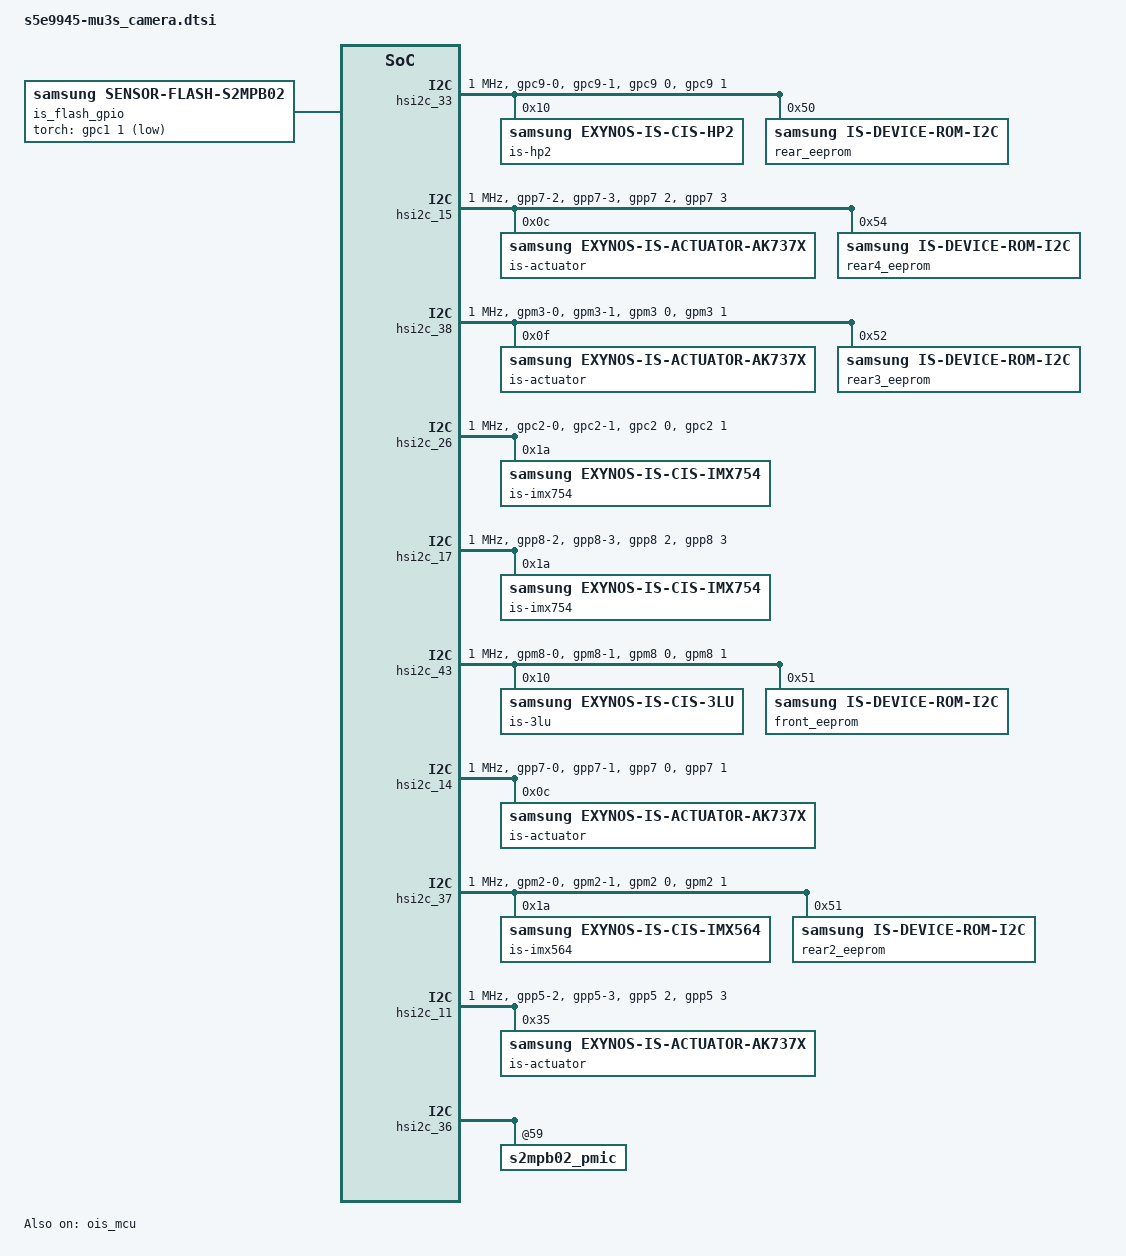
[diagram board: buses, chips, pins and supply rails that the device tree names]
/*
 * Samsung Exynos SoC series Pablo driver
 *
 * Copyright (c) 2022 Samsung Electronics Co., Ltd
 *
 * This program is free software; you can redistribute it and/or modify
 * it under the terms of the GNU General Public License version 2 as
 * published by the Free Software Foundation.
 */

#include <dt-bindings/camera/exynos_is_dt.h>

#include "module_hp2.dtsi"
#include "module_imx754.dtsi"
#include "module_imx754_mirrorflip.dtsi"
#include "module_imx564.dtsi"
#include "module_3lu.dtsi"

/ {
	fragment@camera {
		target-path = "/";
		__overlay__ {
			#address-cells = <2>;
			#size-cells = <1>;
			interrupt-parent = <&gic>;

			is_flash_gpio: is-flash-gpio@0 {
				compatible = "samsung,sensor-flash-s2mpb02";
				sensor-module = <&is_sensor_hp2>, <&is_sensor_imx754>, <&is_sensor_imx754_mirrorflip>;
				id = <0 2 3>;
				status = "okay";

				torch-gpio = <&gpc1 1 0x1>;
			};

			is_laser_af_vl53l8: is-laser-af-vl53l8@0 {
				compatible = "samsung,laser-af-vl53l8";
				id = <0 2 3 4>;
				status = "okay";
			};

			/* OIS_MCU */
			ois_mcu: ois_mcu@1A310000 {
				pinctrl-names = "default";
				pinctrl-0 = <&ois_spi0 &ois_spi1>;
				compatible = "samsung,sensor-ois-mcu";
				reg = <0x0 0x1A310000 0x18000>, /* OIS MCU (SRAM 96KB) */
					<0x0 0x119D0000 0x10000>, /* I2C: USI05_USI */
					<0x0 0x119E0000 0x10000>,	/* SPI: USI06_USI */
					<0x0 0x11830000 0x1000>,	/* PERI setting */
					<0x0 0x1A300000 0x10000>; /* SFR */
				reg-names = "core", "i2c", "spi", "peri", "sfr";
				interrupts = <0 INTREQ__OIS_MCU_CSIS IRQ_TYPE_LEVEL_HIGH>;
				id = <0 2 3>;
				status = "okay";
				mcu_ctrl_actuator = <0 0 1>;
				mcu_skip_video_fastae;
				mcu_off_during_uwonly_mode;
				ois_gyro_direction = <0x00 0x01 0x31 0x00 0x01 0x00 0x00>;

				power-domains = <&pd_csis>;
				clocks = <&clock GATE_OIS_MCU_TOP_QCH>, <&clock DOUT_DIV_CLK_PERIC2_USI06>;
				clock-names = "user_mux", "ipclk_spi";
			};

			/* REAR CAMERA */
			is_sensor0: is_sensor0@1A030000 {
				reg = <0x0 0x1A040000 0x1000>, /* MIPI-CSI1 */
					<0x0 0x1A0F0000 0x10000>, /* PHY: M0S4S4S4S4S4S2 */
					<0x0 0x1A19022C 0x10>, /* CSIS_FRO */
					<0x0 0x1A190254 0x10>; /* CSIS 7x5 OTF_OUT MUX */
				scenario = <SENSOR_SCENARIO_NORMAL>;    /* Normal, Vision, OIS etc */

				id = <0>;
				csi_ch = <1>;
				status = "okay";
				use_cphy = <1>;

				interrupts = <0 INTREQ__CSIS1 IRQ_TYPE_LEVEL_HIGH>; /* MIPI-CSI1 */
				phys = <&mipi_phy_csis1_m0s4s4s4s4s4s4_s22 0>;
				phy_setfile = <&cphy_setfile>;
			};

			/* FRONT CAMERA */
			is_sensor1: is_sensor1@1A040000 {
				reg = <0x0 0x1A030000 0x1000>, /* MIPI-CSI0 */
					<0x0 0x1A0F0000 0x10000>, /* PHY: M0S4S4S4S4S4S2 */
					<0x0 0x1A19022C 0x10>, /* CSIS_FRO */
					<0x0 0x1A190254 0x10>; /* CSIS 7x5 OTF_OUT MUX */
				scenario = <SENSOR_SCENARIO_NORMAL>;    /* Normal, Vision, OIS etc */
				id = <1>;
				csi_ch = <0>;
				status = "okay";
				use_cphy = <1>;
				scramble = <1>; /* need to sync with sensor setting */

				interrupts = <0 INTREQ__CSIS0 IRQ_TYPE_LEVEL_HIGH>; /* MIPI-CSI0 */
				phys = <&mipi_phy_csis0_m0s4s4s4s4s4s4_s22 0>;
				phy_setfile = <&cphy_setfile>;
			};

			/* Tele x3 CAMERA */
			is_sensor2: is_sensor2@1A050000 {
				reg = <0x0 0x1A050000 0x1000>, /* MIPI-CSI2 */
					<0x0 0x1A0F0000 0x10000>, /* PHY: M0S4S4S4S4S4S2 */
					<0x0 0x1A19022C 0x10>, /* CSIS_FRO */
					<0x0 0x1A190254 0x10>; /* CSIS 7x5 OTF_OUT MUX */
				scenario = <SENSOR_SCENARIO_NORMAL>;    /* Normal, Vision, OIS etc */
				id = <2>;
				csi_ch = <2>;
				status = "okay";
				use_cphy = <1>;

				interrupts = <0 INTREQ__CSIS2 IRQ_TYPE_LEVEL_HIGH>; /* MIPI-CSI2 */
				phys = <&mipi_phy_csis2_m0s4s4s4s4s4s4_s22 0>;
				phy_setfile = <&cphy_setfile>;
			};

			/* Tele x10 CAMERA */
			is_sensor3: is_sensor3@1A060000 {
				reg = <0x0 0x1A070000 0x1000>, /* MIPI-CSI4 */
					<0x0 0x1A0F0000 0x10000>, /* PHY: M0S4S4S4S4S4S2 */
					<0x0 0x1A19022C 0x10>, /* CSIS_FRO */
					<0x0 0x1A190254 0x10>; /* CSIS 7x5 OTF_OUT MUX */
				scenario = <SENSOR_SCENARIO_NORMAL>;    /* Normal, Vision, OIS etc */
				id = <3>;
				csi_ch = <4>;
				status = "okay";
				use_cphy = <1>;

				interrupts = <0 INTREQ__CSIS4 IRQ_TYPE_LEVEL_HIGH>; /* MIPI-CSI4 */
				phys = <&mipi_phy_csis4_m0s4s4s4s4s4s4_s22 0>;
				phy_setfile = <&cphy_setfile>;
			};

			/* ULTRA WIDE CAMERA */
			is_sensor4: is_sensor4@1A070000 {
				reg = <0x0 0x1A060000 0x1000>, /* MIPI-CSI3 */
					<0x0 0x1A0F0000 0x10000>, /* PHY: M0S4S4S4S4S4S2 */
					<0x0 0x1A19022C 0x10>, /* CSIS_FRO */
					<0x0 0x1A190254 0x10>; /* CSIS 7x5 OTF_OUT MUX */
				scenario = <SENSOR_SCENARIO_NORMAL>;    /* Normal, Vision, OIS etc */
				id = <4>;
				csi_ch = <3>;
				status = "okay";
				use_cphy = <1>;

				interrupts = <0 INTREQ__CSIS3 IRQ_TYPE_LEVEL_HIGH>; /* MIPI-CSI3 */
				phys = <&mipi_phy_csis3_m0s4s4s4s4s4s4_s22 0>;
				phy_setfile = <&cphy_setfile>;
			};

			is_sensor5: is_sensor5@1A080000 {
				scenario = <SENSOR_SCENARIO_NORMAL>;    /* Normal, Vision, OIS etc */
				id = <1>;
				csi_ch = <1>;
				status = "disabled";
			};

			is_sensor_3lu: is_sensor_3lu@10 {
				power_seq {
					scenario_normal_on {
						7 { pname; pin; share; };
						10 { pname = "VDD_CAMIO_1P8"; pin = <PIN_REGULATOR 1 1>; share = <SRT_ACQUIRE SHARED_PIN0 1>; };
						40 { pname = "VDD_VTCAM_AF_2P8"; pin = <PIN_OUTPUT 1 0>; gpio = <&gpb1 0 0x1>; actuator_i2c_delay = <10000>; };
					};

					scenario_normal_off {
						70 { pname = "VDD_VTCAM_AF_2P8"; pin = <PIN_OUTPUT 0 0>; gpio = <&gpb1 0 0x1>; };
						100 { pname = "VDD_CAMIO_1P8"; pin = <PIN_REGULATOR 0 0>; share = <SRT_RELEASE SHARED_PIN0 0>; };
						120 { pname; pin; share; };
					};

					scenario_vision_on {
						7 { pname; pin; share; };
						10 { pname = "VDD_CAMIO_1P8"; pin = <PIN_REGULATOR 1 1>; share = <SRT_ACQUIRE SHARED_PIN0 1>; };
						40 { pname = "VDD_VTCAM_AF_2P8"; pin = <PIN_OUTPUT 1 0>; gpio = <&gpb1 0 0x1>; actuator_i2c_delay = <10000>; };
					};

					scenario_vision_off {
						70 { pname = "VDD_VTCAM_AF_2P8"; pin = <PIN_OUTPUT 0 0>; gpio = <&gpb1 0 0x1>; };
						100 { pname = "VDD_CAMIO_1P8"; pin = <PIN_REGULATOR 0 0>; share = <SRT_RELEASE SHARED_PIN0 0>; };
						120 { pname; pin; share; };
					};

					scenario_read_rom_on {
						10 { pname = "VDD_CAMIO_1P8"; pin = <PIN_REGULATOR 1 5000>; share = <SRT_ACQUIRE SHARED_PIN0 1>; };
					};

					scenario_read_rom_off {
						20 { pname = "VDD_CAMIO_1P8"; pin = <PIN_REGULATOR 0 0>; share = <SRT_RELEASE SHARED_PIN0 0>; };
					};
				};
			};
		}; /* end of __overlay__ */
	}; /* end of fragment */
}; /* end of root */

/***** reference symbol node *****/
&pinctrl_1 {
	/* ULTRA WIDE */
	hsi2c37_bus_in: hsi2c37-bus-in {
		samsung,pins = "gpm2-0", "gpm2-1";
		samsung,pin-function = <0>;
		samsung,pin-pud = <0>;
		samsung,pin-drv = <0>;
	};

	/* Tele 3x AF */
	hsi2c38_bus_in: hsi2c38-bus-in {
		samsung,pins = "gpm3-0", "gpm3-1";
		samsung,pin-function = <0>;
		samsung,pin-pud = <0>;
		samsung,pin-drv = <0>;
	};

	/* FRONT */
	hsi2c43_bus_in: hsi2c43-bus-in {
		samsung,pins = "gpm8-0", "gpm8-1";
		samsung,pin-function = <0>;
		samsung,pin-pud = <0>;
		samsung,pin-drv = <0>;
	};
};

&pinctrl_6 {
	/* REAR TELE 3x */
	hsi2c26_bus_in: hsi2c26-bus-in {
		samsung,pins = "gpc2-0", "gpc2-1";
		samsung,pin-function = <0>;
		samsung,pin-pud = <0>;
		samsung,pin-drv = <0>;
	};

	/* FRONT AF */
	hsi2c14_bus_in: hsi2c14-bus-in {
		samsung,pins = "gpp7-0", "gpp7-1";
		samsung,pin-function = <0>;
		samsung,pin-pud = <0>;
		samsung,pin-drv = <0>;
	};

	/* REAR WIDE AF */
	hsi2c15_bus_in: hsi2c15-bus-in {
		samsung,pins = "gpp7-2", "gpp7-3";
		samsung,pin-function = <0>;
		samsung,pin-pud = <0>;
		samsung,pin-drv = <0>;
	};

	/* Tele 10x */
	hsi2c17_bus_in: hsi2c16-bus-in {
		samsung,pins = "gpp8-2", "gpp8-3";
		samsung,pin-function = <0>;
		samsung,pin-pud = <0>;
		samsung,pin-drv = <0>;
	};
};

&pinctrl_7 {
	/* REAR WIDE */
	hsi2c33_bus_in: hsi2c33-bus-in {
		samsung,pins = "gpc9-0", "gpc9-1";
		samsung,pin-function = <0>;
		samsung,pin-pud = <0>;
		samsung,pin-drv = <0>;
	};

	/* UW AF EEPROM */
	hsi2c11_bus_in: hsi2c11-bus-in {
		samsung,pins = "gpp5-2", "gpp5-3";
		samsung,pin-function = <0>;
		samsung,pin-pud = <0>;
		samsung,pin-drv = <0>;
	};

	/* ois spi 0*/
	ois_spi0: ois-spi0 {
		samsung,pins = "gpp6-0", "gpp6-1";
		samsung,pin-function = <0>;
		samsung,pin-pud = <1>;
	};

	/* ois spi 1*/
	ois_spi1: ois-spi1 {
		samsung,pins = "gpp6-2", "gpp6-3";
		samsung,pin-function = <0>;
		samsung,pin-pud = <0>;
		samsung,pin-con-pdn = <2>;
		samsung,pin-pud-pdn = <0>;
	};
};

&hsi2c_33 {
	#address-cells = <1>;
	#size-cells = <0>;
	gpios = <&gpc9 0 0 &gpc9 1 0>;
	status = "okay";
	clock-frequency = <1000000>;
	samsung,reset-before-trans;
	samsung,fast-plus-mode;

	pinctrl-names = "default","on_i2c","off_i2c";
	pinctrl-0 = <&hsi2c33_bus_in>;
	pinctrl-1 = <&hsi2c33_bus>;
	pinctrl-2 = <&hsi2c33_bus_in>;

	is-hp2@10 {
		compatible = "samsung,exynos-is-cis-hp2";
		sensor-module = <&is_sensor_hp2>;
		reg = <0x10>; /* 1 bit right shift */
		id = <0>; /* matching is_sensor id */
		setfile = "setA";
		rev_reg = <0x0002 2 0xB100>;
		vendor_use_adaptive_mipi;
	};

	rear_eeprom@50 {
		compatible = "samsung,is-device-rom-i2c";
		reg = <0x50>;

		rom_id = <0>; /* ROM_ID_REAR */
		rom_type = <2>; /* ROM_TYPE_EEPROM */
		rom_power_position = <0>;
		rom_size = <0x8000>;
		cal_map_es_version = <31>;
		camera_module_es_version = "A";
		ignore_cal_crc_error;

		/* Diamond_project_DM3_Rear_Cal_Map_V031_20220713_for_all */
		/* 0 header */
		header_crc_check_list = <0x0000 0x01FB 0x01FC>;
		/* 0 LSI Wide LSC data */
		/* 1 Wide camera */
		/* 2 ATC data */
		/* 3 Tele camera */
		/* 4 Sensor */
		crc_check_list = <
			0x0200 0x15FB 0x15FC
			0x1D00 0x2D2B 0x2D2C
			0x2D30 0x3D5B 0x3D5C
			0x3D60 0x3D8B 0x3D8C
			0x3D90 0x3DCB 0x3DCC
			0x3DD0 0x3E3B 0x3E3C
			0x3E40 0x3E9B 0x3E9C
			0x3EA0 0x3ECB 0x3ECC
			0x1D00 0x3EDF 0x3EFC
			0x3F00 0x3FFB 0x3FFC
			0x4000 0x5C1F 0x5C20
			0x5C24 0x658D 0x658E
			0x6592 0x69B7 0x69B8
			0x69BC 0x7349 0x734A
			0x734E 0x7AA5 0x7AA6
			0x4000 0x7ADF 0x7AFC
			0x7B00 0x7C4B 0x7C4C
		>;

		/* Master */
		rom_header_version_start_addr = <0x50>;
		rom_header_cal_data_start_addr = <0x200>;
		rom_header_cal_map_ver_start_addr = <0x70>;
		rom_header_isp_setfile_ver_start_addr = <0x74>;
		rom_header_project_name_start_addr = <0x7E>;
		rom_header_module_id_addr = <0xAE>; /* 0xA8 + reserved bytes */
		rom_header_sensor_id_addr = <0xB8>;
		rom_header_mtf_data_addr = <0xE0>;
		rom_paf_cal_start_addr = <0x1D00>;
		rom_awb_master_addr = <0x3D90>;
		rom_awb_module_addr = <0x3DB4>;
		/* Near Far Mid1 ... Mid7 */
		rom_af_cal_addr = <0x3D70 0x3D64 0x3D68 0x3D6C>;

		/* index, start, end, endian[little:0x00, big:0x01, check:0x02, continue:0x03]  */
		rom_xtc_cal_data_addr_list = <
			0x00 0x4000 0x56B7 0x02 /* HEXA_HQ */
			0x01 0x6592 0x6709 0x02 /* IMBACC */
			0x02 0x734E 0x764F 0x02 /* OFFSETS_GAIN for Hexa */
			0x03 0x7650 0x770F 0x03 /* OFFSETS_GAIN for Tetra */
			0x04 0x7710 0x774F 0x03 /* OFFSETS_GAIN for IMB */
			0x05 0x69BC 0x708B 0x02 /* SPECIAL */
			0x06 0x5C24 0x60DB 0x02 /* TETRA_HQ */
		>;

 		/* sensor ois - xgg ygg xcoef ycoef xsupper ysupper calmark */
		/* sensor2 ois - xgg ygg xcoef ycoef xsupper ysupper calmark */
		/* TO DO */
		rom_ois_list = <0x2E20 0x2E24 0x2E2C 0x2E2E 0x2E48 0x2E4A 0x2E40
			0x3630 0x3634 0x363C 0x363E 0x3658 0x365A 0x3650>;
	};
};

&hsi2c_15 {
	#address-cells = <1>;
	#size-cells = <0>;
	gpios = <&gpp7 2 0 &gpp7 3 0>;
	status = "okay";
	clock-frequency = <1000000>;
	samsung,reset-before-trans;
	samsung,fast-plus-mode;

	pinctrl-names = "default","on_i2c","off_i2c";
	pinctrl-0 = <&hsi2c15_bus_in>;
	pinctrl-1 = <&hsi2c15_bus>;
	pinctrl-2 = <&hsi2c15_bus_in>;

	is-actuator@0C { /* wide AF */
		compatible = "samsung,exynos-is-actuator-ak737x";
		sensor-module = <&is_sensor_hp2>;
		reg = <0x0C>;
		id = <0>; /* matching is_sensor id */
		/* AK7314 : addr 0xF3, data 0x19 */
		vendor_product_id = <0xF3 0x13 0xF3 0x19>;
		vendor_first_pos = <2000>;  /* 12bits */
		vendor_first_delay = <2000>;
		vendor_soft_landing_seqid = <3>;
		vendor_soft_landing_list = <640 30 64 30>; /* 1st_pos delay 2nd_pos delay */
		vendor_use_sleep_mode;
		vendor_use_standby_mode; /* AK7314 with vendor_use_sleep_mode */
		/* delay settings for AK7314 */
		vendor_sleep_to_standby_delay = <2200>;
		vendor_active_to_standby_delay = <300>;
	};

	rear4_eeprom@54 { /* tele x10 */
		compatible = "samsung,is-device-rom-i2c";
		reg = <0x54>;

		rom_id = <6>; /* ROM_ID_REAR4 */
		rom_type = <2>; /* ROM_TYPE_EEPROM */
		rom_power_position = <6>;
		rom_size = <0x4000>;
		cal_map_es_version = <23>;
		camera_module_es_version = "A";

		/* Rainbow_project_B0_Rear_Cal_Map_V023_20210520_for_all */
		/* 0 header */
		header_crc_check_list = <0x0000 0x01FB 0x01FC>;
		/* 0 LSI Wide LSC data */
		/* 1 Tele camera */
		/* 2 ATC data */
		crc_check_list = <
			0x0200 0x15FB 0x15FC
			0x1D00 0x2D2B 0x2D2C
			0x2D30 0x2D5B 0x2D5C
			0x2D60 0x2D9B 0x2D9C
			0x2DA0 0x2E0B 0x2E0C
			0x2E10 0x361B 0x361C
			0x3620 0x367B 0x367C
			0x1D00 0x36DF 0x36FC
			0x3700 0x37FB 0x37FC
		>;

		/* Master */
		rom_header_version_start_addr = <0x40>;
		rom_header_cal_data_start_addr = <0x200>;
		rom_header_cal_map_ver_start_addr = <0x70>;
		rom_header_isp_setfile_ver_start_addr = <0x74>;
		rom_header_project_name_start_addr = <0x7E>;
		rom_header_module_id_addr = <0xAE>; /* 0xA8 + reserved bytes */
		rom_header_sensor_id_addr = <0xC8>;
		rom_header_mtf_data_addr = <0x182>;
		rom_awb_master_addr = <0x2D60>;
		rom_awb_module_addr = <0x2D84>;
		/* Near Far Mid1 ... Mid7 */
		rom_af_cal_addr = <0x2D40 0x2D34 0x2D38 0x2D3C>;

		rom_dualcal_slave0_start_addr = <0x2E10>;
		rom_dualcal_slave0_size = <0x080C>; /* 2060 */
		/* x y z sx sy */
		/* range max_err avg_err dll_version prj_name */
		rom_dualcal_slave0_tilt_list = <0x2EC8 0x2ECC 0x2ED0 0x2EEC 0x2EF0
			0x30E2 0x30E6 0x30EA 0x3104 0x30EF>;

		/* sensor ois - xgg ygg xcoef ycoef xsupper ysupper calmark */
		/* sensor2 ois - xgg ygg xcoef ycoef xsupper ysupper calmark */
		/* TO DO */
		rom_ois_list = <0x2E20 0x2E24 0x2E2C 0x2E2E 0x2E48 0x2E4A 0x2E40
			0x3630 0x3634 0x363C 0x363E 0x3658 0x365A 0x3650>;
	};
};

&hsi2c_38 {
	#address-cells = <1>;
	#size-cells = <0>;
	gpios = <&gpm3 0 0 &gpm3 1 0>;
	status = "okay";
	clock-frequency = <1000000>;
	samsung,reset-before-trans;
	samsung,fast-plus-mode;

	pinctrl-names = "default","on_i2c","off_i2c";
	pinctrl-0 = <&hsi2c38_bus_in>;
	pinctrl-1 = <&hsi2c38_bus>;
	pinctrl-2 = <&hsi2c38_bus_in>;

	is-actuator@0F { /* tele 3x AF */
		compatible = "samsung,exynos-is-actuator-ak737x";
		sensor-module = <&is_sensor_imx754>;
		reg = <0x0F>;
		id = <2>; /* matching is_sensor id */
		/* DW9825A */
		vendor_product_id = <0xF3 0x0E 0xF3 0x00 0xF3 0x19 0xF3 0x13>;
		vendor_first_pos = <960>;  /* 12bits */
		vendor_first_delay = <2000>;
		vendor_use_sleep_mode;
		vendor_use_standby_mode; /* with vendor_use_sleep_mode */
		/* delay settings for DW9825A */
		vendor_sleep_to_standby_delay = <3000>;
		vendor_active_to_standby_delay = <300>;
	};

	rear3_eeprom@52 { /* tele x3 */
		compatible = "samsung,is-device-rom-i2c";
		reg = <0x52>;

		rom_id = <4>; /* ROM_ID_REAR3 */
		rom_type = <2>; /* ROM_TYPE_EEPROM */
		rom_power_position = <2>;
		rom_size = <0x4000>;
		cal_map_es_version = <23>;
		camera_module_es_version = "A";

		/* Rainbow_project_R0G0_Rear_Cal_Map_V023_20210520_for_all */
		/* 0 header */
		header_crc_check_list = <0x0000 0x01FB 0x01FC>;
		/* 0 LSI Wide LSC data */
		/* 1 Tele camera */
		/* 2 ATC data */
		crc_check_list = <
			0x0200 0x15FB 0x15FC
			0x1D00 0x2D2B 0x2D2C
			0x2D30 0x2D5B 0x2D5C
			0x2D60 0x2D9B 0x2D9C
			0x2DA0 0x2E0B 0x2E0C
			0x2E10 0x361B 0x361C
			0x3620 0x367B 0x367C
			0x1D00 0x36DF 0x36FC
			0x3700 0x37FB 0x37FC
		>;

		/* Master */
		rom_header_version_start_addr = <0x40>;
		rom_header_cal_data_start_addr = <0x200>;
		rom_header_cal_map_ver_start_addr = <0x70>;
		rom_header_isp_setfile_ver_start_addr = <0x74>;
		rom_header_project_name_start_addr = <0x7E>;
		rom_header_module_id_addr = <0xAE>; /* 0xA8 + reserved bytes */
		rom_header_sensor_id_addr = <0xC8>;
		rom_header_mtf_data_addr = <0x182>;
		rom_awb_master_addr = <0x2D60>;
		rom_awb_module_addr = <0x2D84>;
		/* Near Far Mid1 ... Mid7 */
		rom_af_cal_addr = <0x2D40 0x2D34 0x2D38 0x2D3C>;

		/* Dual cal slave 0 - Tele */
		rom_dualcal_slave0_start_addr = <0x2E10>;
		rom_dualcal_slave0_size = <0x080C>; /* 2060 */
		/* x y z sx sy */
		/* range max_err avg_err dll_version prj_name */
		rom_dualcal_slave1_tilt_list = <0x2EC8 0x2ECC 0x2ED0 0x2EEC 0x2EF0
			0x30E2 0x30E6 0x30EA 0x3104 0x30EF>;

		/* sensor ois - xgg ygg xcoef ycoef xsupper ysupper calmark */
		/* sensor2 ois - xgg ygg xcoef ycoef xsupper ysupper calmark */
		/* TO DO */
		rom_ois_list = <0x2E20 0x2E24 0x2E2C 0x2E2E 0x2E48 0x2E4A 0x2E40
			0x3630 0x3634 0x363C 0x363E 0x3658 0x365A 0x3650>;
	};
};

&hsi2c_26 {
	#address-cells = <1>;
	#size-cells = <0>;
	gpios = <&gpc2 0 0 &gpc2 1 0>;
	status = "okay";
	clock-frequency = <1000000>;
	samsung,reset-before-trans;
	samsung,fast-plus-mode;

	pinctrl-names = "default","on_i2c","off_i2c";
	pinctrl-0 = <&hsi2c26_bus_in>;
	pinctrl-1 = <&hsi2c26_bus>;
	pinctrl-2 = <&hsi2c26_bus_in>;

	is-imx754@1A { /* tele x3 */
		compatible = "samsung,exynos-is-cis-imx754";
		sensor-module = <&is_sensor_imx754>;
		reg = <0x1A>; /* 1 bit right shift */
		id = <2>; /* matching is_sensor id */
		setfile = "setA";
		rev_reg = <0x0018 1 0x30>;
		vendor_use_adaptive_mipi;
	};
};

&hsi2c_17 {
	#address-cells = <1>;
	#size-cells = <0>;
	gpios = <&gpp8 2 0 &gpp8 3 0>;
	status = "okay";
	clock-frequency = <1000000>;
	samsung,reset-before-trans;
	samsung,fast-plus-mode;

	pinctrl-names = "default","on_i2c","off_i2c";
	pinctrl-0 = <&hsi2c17_bus_in>;
	pinctrl-1 = <&hsi2c17_bus>;
	pinctrl-2 = <&hsi2c17_bus_in>;

	is-imx754@1A { /* tele x10 */
		compatible = "samsung,exynos-is-cis-imx754";
		sensor-module = <&is_sensor_imx754_mirrorflip>;
		reg = <0x1A>; /* 1 bit right shift */
		id = <3>; /* matching is_sensor id */
		setfile = "setB";
		rev_reg = <0x0018 1 0x30>;
		multicam_slave = <1>;
		vendor_use_adaptive_mipi;
	};
};

&hsi2c_43 {
	#address-cells = <1>;
	#size-cells = <0>;
	gpios = <&gpm8 0 0 &gpm8 1 0>;
	status = "okay";
	clock-frequency = <1000000>;
	samsung,reset-before-trans;
	samsung,fast-plus-mode;

	pinctrl-names = "default","on_i2c","off_i2c";
	pinctrl-0 = <&hsi2c43_bus_in>;
	pinctrl-1 = <&hsi2c43_bus>;
	pinctrl-2 = <&hsi2c43_bus_in>;

	is-3lu@10 {
		compatible = "samsung,exynos-is-cis-3lu";
		sensor-module = <&is_sensor_3lu>;
		reg = <0x10>; /* 1 bit right shift */
		id = <1>; /* matching is_sensor id */
		setfile = "default";
		rev_reg = <0x0002 2 0xA101>;
		vendor_use_adaptive_mipi;
	};

	front_eeprom@51 {
		compatible = "samsung,is-device-rom-i2c";
		reg = <0x51>;

		rom_id = <1>; /* ROM_ID_FRONT */
		rom_type = <2>; /* ROM_TYPE_EEPROM */
		rom_power_position = <1>;
		rom_size = <0x4000>;
		cal_map_es_version = <31>;
		camera_module_es_version = "A";

		/* Muse_project_Muse123_Front_Cal_Map_V031_20230510_for_all */
		/* 0 header */
		header_crc_check_list = <0x0000 0x015F 0x01FC>;
		/* 0 master */
		crc_check_list = <
			0x0200 0x15FB 0x15FC
			0x2300 0x32FF 0x3300
			0x330C 0x3337 0x3338
			0x333C 0x3367 0x3368
			0x2300 0x33DF 0x33FC
			0x3400 0x354B 0x354C
		>;
		/* Master */
		rom_header_version_start_addr = <0x30>;
		rom_header_cal_data_start_addr = <0x200>;
		rom_header_cal_map_ver_start_addr = <0x50>;
		/* rom_header_isp_setfile_ver_start_addr = <>; */
		rom_header_project_name_start_addr = <0x5C>;
		rom_header_module_id_addr = <0xAE>; /* 0xA8 + reserved bytes */
		rom_header_sensor_id_addr = <0x70>;
		rom_header_mtf_data_addr = <0xE0>;
		rom_paf_cal_start_addr = <0x2300>;
		rom_awb_master_addr = <0x333C>;
		rom_awb_module_addr = <0x3348>;
		/* Near Far Mid1 ... Mid7 */
		rom_af_cal_addr = <0x331C 0x3310>;
	};
};

&hsi2c_14 {
	#address-cells = <1>;
	#size-cells = <0>;
	gpios = <&gpp7 0 0 &gpp7 1 0>;
	status = "okay";
	clock-frequency = <1000000>;
	samsung,reset-before-trans;
	samsung,fast-plus-mode;

	pinctrl-names = "default","on_i2c","off_i2c";
	pinctrl-0 = <&hsi2c14_bus_in>;
	pinctrl-1 = <&hsi2c14_bus>;
	pinctrl-2 = <&hsi2c14_bus_in>;

	is-actuator@0C { /* front AF */
		compatible = "samsung,exynos-is-actuator-ak737x";
		sensor-module = <&is_sensor_3lu>;
		reg = <0x0C>;
		id = <1>; /* matching is_sensor id */
		/* DW9825A */
		vendor_product_id = <0xF3 0x0E>;
		vendor_first_pos = <960>;  /* 12bits */
		vendor_first_delay = <2000>;
		vendor_use_sleep_mode;
		vendor_use_standby_mode; /* with vendor_use_sleep_mode */
		/* delay settings for DW9825A */
		vendor_sleep_to_standby_delay = <3000>;
		vendor_active_to_standby_delay = <300>;
	};
};

&hsi2c_37 {
	#address-cells = <1>;
	#size-cells = <0>;
	gpios = <&gpm2 0 0 &gpm2 1 0>;
	status = "okay";
	clock-frequency = <1000000>;
	samsung,reset-before-trans;
	samsung,fast-plus-mode;

	pinctrl-names = "default","on_i2c","off_i2c";
	pinctrl-0 = <&hsi2c37_bus_in>;
	pinctrl-1 = <&hsi2c37_bus>;
	pinctrl-2 = <&hsi2c37_bus_in>;

	is-imx564@1A { /* ultrawide */
		compatible = "samsung,exynos-is-cis-imx564";
		sensor-module = <&is_sensor_imx564>;
		reg = <0x1A>; /* 1 bit right shift */
		id = <4>; /* matching is_sensor id */
		setfile = "setA";
		status = "okay";
		rev_reg = <0x36F2 2 0x564C>;
		vendor_use_adaptive_mipi;
	};

	rear2_eeprom@51 { /* Ultra wide eeprom */
		compatible = "samsung,is-device-rom-i2c";
		reg = <0x51>;

		rom_id = <2>; /* ROM_ID_REAR2 */
		rom_type = <2>; /* ROM_TYPE_EEPROM */
		rom_power_position = <4>;
		rom_size = <0x4000>;
		cal_map_es_version = <23>;
		camera_module_es_version = "A";

		/* Rainbow_project_R0G0_Rear_Cal_Map_V023_20210520_for_all */
		/* 0 header */
		header_crc_check_list = <0x0000 0x00FB 0x00FC>;
		/* 0 master LSC */
		/* 1 master all */
		crc_check_list = <
			0x0100 0x14FB 0x14FC
			0x2C60 0x2C9B 0x2C9C
			0x2CA0 0x2D0B 0x2D0C
			0x1C00 0x2DDF 0x2DFC
		>;
		/* Master */
		rom_header_version_start_addr = <0x40>;
		rom_header_cal_data_start_addr = <0x100>;
		rom_header_cal_map_ver_start_addr = <0x50>;
		rom_header_isp_setfile_ver_start_addr = <0x54>;
		rom_header_project_name_start_addr = <0x5E>;
		rom_header_module_id_addr = <0xAE>; /* 0xA8 + reserved bytes */
		rom_header_sensor_id_addr = <0xB8>;
		rom_header_mtf_data_addr = <0x66>;
		rom_awb_master_addr = <0x2C60>;
		rom_awb_module_addr = <0x2C84>;
	};
};

&hsi2c_11 {
	#address-cells = <1>;
	#size-cells = <0>;
	gpios = <&gpp5 2 0 &gpp5 3 0>;
	status = "okay";
	clock-frequency = <1000000>;
	samsung,reset-before-trans;
	samsung,fast-plus-mode;

	pinctrl-names = "default","on_i2c","off_i2c";
	pinctrl-0 = <&hsi2c11_bus_in>;
	pinctrl-1 = <&hsi2c11_bus>;
	pinctrl-2 = <&hsi2c11_bus_in>;

	is-actuator@35 { /* uwide AF */
		compatible = "samsung,exynos-is-actuator-ak737x";
		reg = <0x35>;
		sensor-module = <&is_sensor_imx564>;
		id = <4>; /* matching is_sensor id */
		/* DW9825A */
		vendor_product_id = <0xF3 0x0E>;
		vendor_first_pos = <960>;  /* 12bits */
		vendor_first_delay = <2000>;
		vendor_use_sleep_mode;
		vendor_use_standby_mode; /* with vendor_use_sleep_mode */
		/* delay settings for DW9825A */
		vendor_sleep_to_standby_delay = <3000>;
		vendor_active_to_standby_delay = <300>;
	};
};

&hsi2c_36 {
	s2mpb02_pmic@59 {
		torch {
			torch1-gpio = <&gpc1 1 0x1>;

			status = "okay";

			leds1 {
				ledname = "leds-sec1";
				id = <0>;
				brightness = <0xE>; /* adaptive Nx100+50 : 1450mA */
				timeout = <0x7>; /* (N+1)x62.5 : 500ms */
				torch_table_enable = <0>;
			};

			leds2 {
				ledname = "torch-sec1";
				id = <1>;
				brightness = <0xE>; /* Nx20 = 280mA */
				timeout = <0xF>;
				torch_table_enable = <1>;
				torch_table = <3 5 5 6 6 8 8 8 10 10>;
				/* 60mA 100mA 120mA 160mA 200mA */
			};
		};
	};
};

&exynos_is {
	phy_ldos = "AVDD_CSI_0P85", "AVDD_CSI_1P2";

	vendor {
		use_module_check;
		check_sensor_vendor;
		ois_sensor_index = <0>;
		aperture_sensor_index = <0>;
		mcu_sensor_index = <0>;

		is_vendor_sensor_count = <5>;
		max_supported_camera = <7>;
		supported_cameraId = <56 58 52 54 1 21 23>;
		/*
		* Wide(0)
		* Front(1)
		* U Wide(2)
		* Front 80(3) - not available for factory
		* Rear ToF(4) - not available for factory
		* Front Secure(5) - not available for factory
		* Dual Zoom(20)
		* Dual Portrait Tele(21) - Main Tele/Sub Wide
		* Dual Portrait Wide(23) - Main Wide/Sub U Wide
		* Tele 2x2(50)
		* Tele 17.9(52)
		* Front_3(53)
		* Tele_2(54)
		* Front_4(55)
		* Rear_Wide(56)
		* Rear_UW(58)
		* REAR ToF(80)
		*/

		/* sysfs camera id */
		max_camera_num = <9>;
		sensor_name { /* position = "name" */
			0 = "S5KHP2";
			1 = "S5K3LU";
			2 = "IMX754";
			4 = "IMX564";
			6 = "IMX754";
		};

		sensor_id { /* position = <sensor_id> */
			0 = <74>;	/* S5KHP2 */
			1 = <75>;	/* S5K3LU */
			2 = <127>;	/* IMX754 */
			4 = <129>;	/* IMX564 */
			6 = <127>;	/* IMX754 */
		};

		camera_info0 {			/* 0 : sysfs rear */
			position = <0>;	/* 0 : wide */
			valid = <1>;		/* 0 : INVALID, 1 : VALID */
		};
		camera_info1 {			/* 1 : sysfs front */
			position = <1>;	/* 1 : front master */
			valid = <1>;		/* 0 : INVALID, 1 : VALID */
		};
		camera_info2 {			/* 2 : sysfs rear2 */
			position = <4>;	/* 4 : ultra wide */
			valid = <1>;		/* 0 : INVALID, 1 : VALID */
		};
		camera_info3 {			/* 3 : sysfs front2 */
			valid = <0>;		/* 0 : INVALID, 1 : VALID */
		};
		camera_info4 {			/* 4 : sysfs rear3 */
			position = <2>;	/* 4 : tele */
			valid = <1>;		/* 0 : INVALID, 1 : VALID   */
		};
		camera_info5 {			/* 5 : sysfs front3 */
			valid = <0>;		/* 0 : INVALID, 1 : VALID */
		};
		camera_info6 {			/* 6 : sysfs rear4 */
			position = <6>;	/* 6 : tele x10 */
			valid = <1>;		/* 0 : INVALID, 1 : VALID   */
		};
		camera_info7 {			/* 7 : sysfs front4 */
			valid = <0>;		/* 0 : INVALID, 1 : VALID */
		};
		camera_info8 {			/* 8 : sysfs rear tof */
			valid = <0>;		/* 0 : INVALID, 1 : VALID */
		};

		sysfs {
			rear_afcal;
			rear_dualcal;

			rear2;
			rear2_afcal;
			rear2_moduleid;
			rear2_tilt;

			rear3;
			rear3_afcal;
			rear3_afhall;
			rear3_moduleid;
			rear3_tilt;

			rear4;
			rear4_afcal;
			rear4_moduleid;
			rear4_tilt;

			front_afcal;
		};
	};

	lic_offsets {
		/* 3AA = <setA lic offset0, setA lic offset1, set A trigger context */
		/*		setB lic offset0, setB lic offset1, set B trigger context> */
		/* 4672: 4640x4352 */
		/* 5824: 5804x4352 */
		3AA = <5461 10922 16383 0 5461 10922 16383 0>;
	};

	is_dvfs {
		table0 {
			desc = "dvfs table v0.0";

			default_int_cam = <0>;
			default_cam = <0>;
			default_csis = <0>;
			default_isp = <0>;
			default_mif = <0>;
			default_int = <0>;
			default_icpu = <0>;

			rear_single_photo_cam = <5>;
			rear_single_photo_isp = <6>;
			rear_single_photo_int_cam = <4>;
			rear_single_photo_mif = <11>;
			rear_single_photo_int = <1>;
			rear_single_photo_icpu = <0>;

			rear_single_photo_full_cam = <5>;
			rear_single_photo_full_isp = <6>;
			rear_single_photo_full_int_cam = <5>;
			rear_single_photo_full_mif = <11>;
			rear_single_photo_full_int = <1>;
			rear_single_photo_full_icpu = <0>;

			rear_single_video_fhd30_cam = <5>;
			rear_single_video_fhd30_isp = <6>;
			rear_single_video_fhd30_int_cam = <6>;
			rear_single_video_fhd30_mif = <11>;
			rear_single_video_fhd30_int = <2>;
			rear_single_video_fhd30_icpu = <1>;

			rear_single_video_fhd30_supersteady_cam = <5>;
			rear_single_video_fhd30_supersteady_isp = <6>;
			rear_single_video_fhd30_supersteady_int_cam = <6>;
			rear_single_video_fhd30_supersteady_mif = <11>;
			rear_single_video_fhd30_supersteady_int = <7>;
			rear_single_video_fhd30_supersteady_icpu = <0>;

			rear_single_video_fhd30_recursive_cam = <4>;
			rear_single_video_fhd30_recursive_isp = <4>;
			rear_single_video_fhd30_recursive_int_cam = <1>;
			rear_single_video_fhd30_recursive_mif = <11>;
			rear_single_video_fhd30_recursive_int = <2>;
			rear_single_video_fhd30_recursive_icpu = <0>;

			rear_single_video_fhd60_cam = <5>;
			rear_single_video_fhd60_isp = <6>;
			rear_single_video_fhd60_int_cam = <5>;
			rear_single_video_fhd60_mif = <8>;
			rear_single_video_fhd60_int = <2>;
			rear_single_video_fhd60_icpu = <1>;

			rear_single_video_fhd60_supersteady_cam = <5>;
			rear_single_video_fhd60_supersteady_isp = <6>;
			rear_single_video_fhd60_supersteady_int_cam = <5>;
			rear_single_video_fhd60_supersteady_mif = <7>;
			rear_single_video_fhd60_supersteady_int = <7>;
			rear_single_video_fhd60_supersteady_icpu = <0>;

			rear_single_video_uhd30_cam = <5>;
			rear_single_video_uhd30_isp = <6>;
			rear_single_video_uhd30_int_cam = <5>;
			rear_single_video_uhd30_mif = <8>;
			rear_single_video_uhd30_int = <7>;
			rear_single_video_uhd30_icpu = <1>;

			rear_single_video_uhd30_supersteady_cam = <5>;
			rear_single_video_uhd30_supersteady_isp = <6>;
			rear_single_video_uhd30_supersteady_int_cam = <4>;
			rear_single_video_uhd30_supersteady_mif = <8>;
			rear_single_video_uhd30_supersteady_int = <7>;
			rear_single_video_uhd30_supersteady_icpu = <0>;

			rear_single_video_uhd30_recursive_cam = <1>;
			rear_single_video_uhd30_recursive_isp = <1>;
			rear_single_video_uhd30_recursive_int_cam = <1>;
			rear_single_video_uhd30_recursive_mif = <8>;
			rear_single_video_uhd30_recursive_int = <7>;
			rear_single_video_uhd30_recursive_icpu = <0>;

			rear_single_video_uhd60_cam = <5>;
			rear_single_video_uhd60_isp = <5>;
			rear_single_video_uhd60_int_cam = <4>;
			rear_single_video_uhd60_mif = <5>;
			rear_single_video_uhd60_int = <6>;
			rear_single_video_uhd60_icpu = <1>;

			rear_single_video_uhd60_supersteady_cam = <5>;
			rear_single_video_uhd60_supersteady_isp = <5>;
			rear_single_video_uhd60_supersteady_int_cam = <4>;
			rear_single_video_uhd60_supersteady_mif = <5>;
			rear_single_video_uhd60_supersteady_int = <6>;
			rear_single_video_uhd60_supersteady_icpu = <0>;

			rear_single_capture_cam = <5>;
			rear_single_capture_isp = <6>;
			rear_single_capture_int_cam = <5>;
			rear_single_capture_mif = <8>;
			rear_single_capture_int = <0>;
			rear_single_capture_icpu = <0>;

			rear_single_video_fhd120_cam = <5>;
			rear_single_video_fhd120_isp = <6>;
			rear_single_video_fhd120_int_cam = <6>;
			rear_single_video_fhd120_mif = <8>;
			rear_single_video_fhd120_int = <1>;
			rear_single_video_fhd120_icpu = <0>;

			rear_single_video_uhd120_cam = <3>;
			rear_single_video_uhd120_isp = <3>;
			rear_single_video_uhd120_int_cam = <6>;
			rear_single_video_uhd120_mif = <2>;
			rear_single_video_uhd120_int = <0>;
			rear_single_video_uhd120_icpu = <0>;

			rear_single_video_fhd240_cam = <5>;
			rear_single_video_fhd240_isp = <5>;
			rear_single_video_fhd240_int_cam = <6>;
			rear_single_video_fhd240_mif = <2>;
			rear_single_video_fhd240_int = <1>;
			rear_single_video_fhd240_icpu = <0>;

			rear_single_video_fhd480_cam = <3>;
			rear_single_video_fhd480_isp = <3>;
			rear_single_video_fhd480_int_cam = <6>;
			rear_single_video_fhd480_mif = <2>;
			rear_single_video_fhd480_int = <1>;
			rear_single_video_fhd480_icpu = <0>;

			rear_single_ssm_cam = <5>;
			rear_single_ssm_isp = <5>;
			rear_single_ssm_int_cam = <6>;
			rear_single_ssm_mif = <2>;
			rear_single_ssm_int = <1>;
			rear_single_ssm_icpu = <0>;

			rear_single_remosaic_photo_cam = <5>;
			rear_single_remosaic_photo_isp = <6>;
			rear_single_remosaic_photo_int_cam = <4>;
			rear_single_remosaic_photo_mif = <11>;
			rear_single_remosaic_photo_int = <1>;
			rear_single_remosaic_photo_icpu = <0>;

			rear_single_remosaic_capture_cam = <4>;
			rear_single_remosaic_capture_isp = <4>;
			rear_single_remosaic_capture_int_cam = <6>;
			rear_single_remosaic_capture_mif = <2>;
			rear_single_remosaic_capture_int = <0>;
			rear_single_remosaic_capture_icpu = <0>;

			rear_single_vt_cam = <5>;
			rear_single_vt_isp = <6>;
			rear_single_vt_int_cam = <6>;
			rear_single_vt_mif = <10>;
			rear_single_vt_int = <1>;
			rear_single_vt_icpu = <0>;

			rear_single_video_8k24_cam = <4>;
			rear_single_video_8k24_isp = <4>;
			rear_single_video_8k24_int_cam = <4>;
			rear_single_video_8k24_mif = <5>;
			rear_single_video_8k24_int = <4>;
			rear_single_video_8k24_icpu = <1>;

			rear_single_video_8k24_hf_cam = <5>;
			rear_single_video_8k24_hf_isp = <6>;
			rear_single_video_8k24_hf_int_cam = <4>;
			rear_single_video_8k24_hf_mif = <8>;
			rear_single_video_8k24_hf_int = <3>;
			rear_single_video_8k24_hf_icpu = <1>;

			rear_single_video_8k30_cam = <2>;
			rear_single_video_8k30_isp = <2>;
			rear_single_video_8k30_int_cam = <2>;
			rear_single_video_8k30_mif = <4>;
			rear_single_video_8k30_int = <4>;
			rear_single_video_8k30_icpu = <1>;

			rear_single_video_8k30_hf_cam = <5>;
			rear_single_video_8k30_hf_isp = <6>;
			rear_single_video_8k30_hf_int_cam = <4>;
			rear_single_video_8k30_hf_mif = <7>;
			rear_single_video_8k30_hf_int = <2>;
			rear_single_video_8k30_hf_icpu = <1>;

			rear_single_wide_fastae_cam = <0>;
			rear_single_wide_fastae_isp = <0>;
			rear_single_wide_fastae_int_cam = <0>;
			rear_single_wide_fastae_mif = <0>;
			rear_single_wide_fastae_int = <0>;
			rear_single_wide_fastae_icpu = <0>;

			rear_dual_photo_cam = <5>;
			rear_dual_photo_isp = <6>;
			rear_dual_photo_int_cam = <5>;
			rear_dual_photo_mif = <8>;
			rear_dual_photo_int = <0>;
			rear_dual_photo_icpu = <0>;

			rear_dual_video_fhd30_cam = <5>;
			rear_dual_video_fhd30_isp = <6>;
			rear_dual_video_fhd30_int_cam = <6>;
			rear_dual_video_fhd30_mif = <8>;
			rear_dual_video_fhd30_int = <0>;
			rear_dual_video_fhd30_icpu = <0>;

			rear_dual_video_fhd60_cam = <5>;
			rear_dual_video_fhd60_isp = <6>;
			rear_dual_video_fhd60_int_cam = <4>;
			rear_dual_video_fhd60_mif = <6>;
			rear_dual_video_fhd60_int = <1>;
			rear_dual_video_fhd60_icpu = <0>;

			rear_dual_video_uhd30_cam = <5>;
			rear_dual_video_uhd30_isp = <6>;
			rear_dual_video_uhd30_int_cam = <4>;
			rear_dual_video_uhd30_mif = <8>;
			rear_dual_video_uhd30_int = <0>;
			rear_dual_video_uhd30_icpu = <0>;

			rear_dual_video_uhd60_cam = <5>;
			rear_dual_video_uhd60_isp = <5>;
			rear_dual_video_uhd60_int_cam = <4>;
			rear_dual_video_uhd60_mif = <4>;
			rear_dual_video_uhd60_int = <1>;
			rear_dual_video_uhd60_icpu = <0>;

			rear_dual_capture_cam = <3>;
			rear_dual_capture_isp = <5>;
			rear_dual_capture_int_cam = <5>;
			rear_dual_capture_mif = <4>;
			rear_dual_capture_int = <0>;
			rear_dual_capture_icpu = <0>;

			triple_photo_cam = <5>;
			triple_photo_isp = <6>;
			triple_photo_int_cam = <5>;
			triple_photo_mif = <8>;
			triple_photo_int = <0>;
			triple_photo_icpu = <0>;

			triple_video_fhd30_cam = <5>;
			triple_video_fhd30_isp = <6>;
			triple_video_fhd30_int_cam = <6>;
			triple_video_fhd30_mif = <8>;
			triple_video_fhd30_int = <0>;
			triple_video_fhd30_icpu = <0>;

			triple_video_fhd60_cam = <4>;
			triple_video_fhd60_isp = <6>;
			triple_video_fhd60_int_cam = <5>;
			triple_video_fhd60_mif = <5>;
			triple_video_fhd60_int = <0>;
			triple_video_fhd60_icpu = <0>;

			triple_video_uhd30_cam = <5>;
			triple_video_uhd30_isp = <6>;
			triple_video_uhd30_int_cam = <4>;
			triple_video_uhd30_mif = <6>;
			triple_video_uhd30_int = <0>;
			triple_video_uhd30_icpu = <0>;

			triple_video_uhd60_cam = <5>;
			triple_video_uhd60_isp = <5>;
			triple_video_uhd60_int_cam = <4>;
			triple_video_uhd60_mif = <4>;
			triple_video_uhd60_int = <0>;
			triple_video_uhd60_icpu = <0>;

			triple_capture_cam = <2>;
			triple_capture_isp = <5>;
			triple_capture_int_cam = <5>;
			triple_capture_mif = <4>;
			triple_capture_int = <0>;
			triple_capture_icpu = <0>;

			front_single_photo_cam = <5>;
			front_single_photo_isp = <6>;
			front_single_photo_int_cam = <6>;
			front_single_photo_mif = <11>;
			front_single_photo_int = <0>;
			front_single_photo_icpu = <0>;

			front_single_photo_full_cam = <5>;
			front_single_photo_full_isp = <6>;
			front_single_photo_full_int_cam = <6>;
			front_single_photo_full_mif = <11>;
			front_single_photo_full_int = <0>;
			front_single_photo_full_icpu = <0>;

			front_single_video_fhd30_cam = <5>;
			front_single_video_fhd30_isp = <6>;
			front_single_video_fhd30_int_cam = <6>;
			front_single_video_fhd30_mif = <11>;
			front_single_video_fhd30_int = <3>;
			front_single_video_fhd30_icpu = <1>;

			front_single_video_fhd30_recursive_cam = <4>;
			front_single_video_fhd30_recursive_isp = <4>;
			front_single_video_fhd30_recursive_int_cam = <1>;
			front_single_video_fhd30_recursive_mif = <11>;
			front_single_video_fhd30_recursive_int = <3>;
			front_single_video_fhd30_recursive_icpu = <0>;

			front_single_video_uhd30_cam = <5>;
			front_single_video_uhd30_isp = <6>;
			front_single_video_uhd30_int_cam = <5>;
			front_single_video_uhd30_mif = <8>;
			front_single_video_uhd30_int = <3>;
			front_single_video_uhd30_icpu = <1>;

			front_single_video_uhd30_recursive_cam = <1>;
			front_single_video_uhd30_recursive_isp = <1>;
			front_single_video_uhd30_recursive_int_cam = <1>;
			front_single_video_uhd30_recursive_mif = <8>;
			front_single_video_uhd30_recursive_int = <3>;
			front_single_video_uhd30_recursive_icpu = <0>;

			front_single_video_fhd60_cam = <5>;
			front_single_video_fhd60_isp = <6>;
			front_single_video_fhd60_int_cam = <5>;
			front_single_video_fhd60_mif = <8>;
			front_single_video_fhd60_int = <3>;
			front_single_video_fhd60_icpu = <1>;

			front_single_video_uhd60_cam = <5>;
			front_single_video_uhd60_isp = <5>;
			front_single_video_uhd60_int_cam = <5>;
			front_single_video_uhd60_mif = <5>;
			front_single_video_uhd60_int = <3>;
			front_single_video_uhd60_icpu = <1>;

			front_single_capture_cam = <5>;
			front_single_capture_isp = <6>;
			front_single_capture_int_cam = <6>;
			front_single_capture_mif = <8>;
			front_single_capture_int = <0>;
			front_single_capture_icpu = <0>;

			front_single_vt_cam = <5>;
			front_single_vt_isp = <6>;
			front_single_vt_int_cam = <6>;
			front_single_vt_mif = <10>;
			front_single_vt_int = <1>;
			front_single_vt_icpu = <0>;

			front_single_fastae_cam = <0>;
			front_single_fastae_isp = <0>;
			front_single_fastae_int_cam = <0>;
			front_single_fastae_mif = <0>;
			front_single_fastae_int = <0>;
			front_single_fastae_icpu = <0>;

			front_single_video_uhd120_cam = <4>;
			front_single_video_uhd120_isp = <5>;
			front_single_video_uhd120_int_cam = <6>;
			front_single_video_uhd120_mif = <3>;
			front_single_video_uhd120_int = <1>;
			front_single_video_uhd120_icpu = <0>;

			front_single_video_fhd120_cam = <4>;
			front_single_video_fhd120_isp = <4>;
			front_single_video_fhd120_int_cam = <5>;
			front_single_video_fhd120_mif = <3>;
			front_single_video_fhd120_int = <0>;
			front_single_video_fhd120_icpu = <0>;

			pip_dual_photo_cam = <5>;
			pip_dual_photo_isp = <6>;
			pip_dual_photo_int_cam = <5>;
			pip_dual_photo_mif = <8>;
			pip_dual_photo_int = <0>;
			pip_dual_photo_icpu = <0>;

			pip_dual_capture_cam = <4>;
			pip_dual_capture_isp = <5>;
			pip_dual_capture_int_cam = <5>;
			pip_dual_capture_mif = <6>;
			pip_dual_capture_int = <0>;
			pip_dual_capture_icpu = <0>;

			pip_dual_video_fhd30_cam = <5>;
			pip_dual_video_fhd30_isp = <6>;
			pip_dual_video_fhd30_int_cam = <6>;
			pip_dual_video_fhd30_mif = <8>;
			pip_dual_video_fhd30_int = <0>;
			pip_dual_video_fhd30_icpu = <0>;

			sensor_only_rear_single_cam = <1>;
			sensor_only_rear_single_isp = <1>;
			sensor_only_rear_single_int_cam = <1>;
			sensor_only_rear_single_mif = <1>;
			sensor_only_rear_single_int = <1>;
			sensor_only_rear_single_icpu = <0>;

			sensor_only_front_cam = <1>;
			sensor_only_front_isp = <1>;
			sensor_only_front_int_cam = <1>;
			sensor_only_front_mif = <1>;
			sensor_only_front_int = <1>;
			sensor_only_front_icpu = <0>;

			throttling_cam = <0>;
			throttling_isp = <0>;
			throttling_int_cam = <5>; /* 234 */
			throttling_mif = <7>; /* 1539 */
			throttling_int = <0>;
			throttling_icpu = <0>;

			max_csis = <0>;
			max_cam = <0>;
			max_isp = <0>;
			max_int_cam = <0>;
			max_mif = <0>;
			max_int = <0>;
			max_icpu = <0>;
		};
	};
};

&cphy_setfile {
	comm {
		/* bias */
		0  = <0x1000 0 32 0x00000010 IDX_BIA_VAL 0>; /* M_BIAS_CON0 */
		1  = <0x1004 0 32 0x00000110 IDX_BIA_VAL 0>; /* M_BIAS_CON1 */
		2  = <0x1008 0 32 0x00003223 IDX_BIA_VAL 0>; /* M_BIAS_CON2 */
		3  = <0x1010 0 32 0x00000240 IDX_BIA_VAL 0>; /* M_BIAS_CON4 */
	};

	lane {
		0  = <0x0004 0 32 0x00003C00 IDX_FIX_VAL 3>; /* SD_GNR_CON1 */
		1  = <0x0008 0 32 0x000001F3 IDX_FIX_VAL 3>; /* SD_ANA_CON0 */
		2  = <0x000C 0 32 0x0000F649 IDX_FIX_VAL 3>; /* SD_ANA_CON1 */
		3  = <0x0010 0 32 0x00000005 IDX_FIX_VAL 3>; /* SD_ANA_CON2 */
		4  = <0x0014 0 32 0x00008600 IDX_FIX_VAL 3>; /* SD_ANA_CON3 */
		5  = <0x0018 0 32 0x00004040 IDX_FIX_VAL 3>; /* SD_ANA_CON4 */
		6  = <0x001C 0 32 0x00000200 IDX_FIX_VAL 3>; /* SD_ANA_CON5 */
		7  = <0x0020 0 32 0x00000E08 IDX_FIX_VAL 3>; /* SD_ANA_CON6 */
		8  = <0x0024 0 32 0x00000040 IDX_FIX_VAL 3>; /* SD_ANA_CON7 */
		9  = <0x0030 0  8 0x00000000 IDX_FIX_VAL 3>; /* SD_TIME_CON0 */
		10 = <0x0030 8  1 0x00000000 IDX_STL_CLK 3>; /* SD_TIME_CON0 */
		11 = <0x0034 0 32 0x00000034 IDX_FIX_VAL 3>; /* SD_TIME_CON1 */
		12 = <0x005C 0 32 0x00001000 IDX_FIX_VAL 3>; /* SD_CRC_DLY_CON0 */
		13 = <0x0064 0 32 0x00001501 IDX_FIX_VAL 3>; /* SD_CRC_CON1 */
		14 = <0x0068 0 32 0x00000003 IDX_FIX_VAL 3>; /* SD_CRC_CON2 */
		15 = <0x009c 0 32 0x00000080 IDX_FIX_VAL 3>; /* SD_CRC_DLY_CON3 */

		/* Enable should be set at last */
		16 = <0x0000 0 32 0x00000001 IDX_FIX_VAL 3>; /* SD_GNR_CON0 */
	};
};

